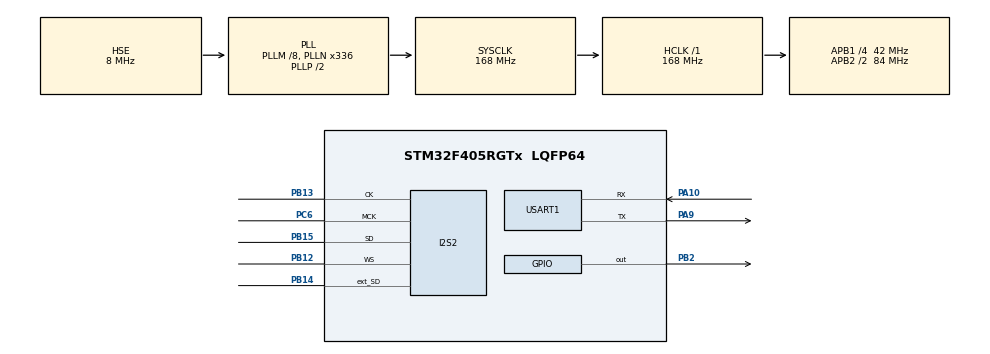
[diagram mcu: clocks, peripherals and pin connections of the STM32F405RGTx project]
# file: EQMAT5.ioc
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Dma.I2S2_EXT_RX.0.Direction=DMA_PERIPH_TO_MEMORY
Dma.I2S2_EXT_RX.0.FIFOMode=DMA_FIFOMODE_DISABLE
Dma.I2S2_EXT_RX.0.Instance=DMA1_Stream3
Dma.I2S2_EXT_RX.0.MemDataAlignment=DMA_MDATAALIGN_HALFWORD
Dma.I2S2_EXT_RX.0.MemInc=DMA_MINC_ENABLE
Dma.I2S2_EXT_RX.0.Mode=DMA_CIRCULAR
Dma.I2S2_EXT_RX.0.PeriphDataAlignment=DMA_PDATAALIGN_HALFWORD
Dma.I2S2_EXT_RX.0.PeriphInc=DMA_PINC_DISABLE
Dma.I2S2_EXT_RX.0.Priority=DMA_PRIORITY_HIGH
Dma.Request0=I2S2_EXT_RX
Dma.Request1=SPI2_TX
Dma.SPI2_TX.1.Direction=DMA_MEMORY_TO_PERIPH
Dma.SPI2_TX.1.FIFOMode=DMA_FIFOMODE_DISABLE
Dma.SPI2_TX.1.Instance=DMA1_Stream4
Dma.SPI2_TX.1.MemDataAlignment=DMA_MDATAALIGN_HALFWORD
Dma.SPI2_TX.1.MemInc=DMA_MINC_ENABLE
Dma.SPI2_TX.1.Mode=DMA_CIRCULAR
Dma.SPI2_TX.1.PeriphDataAlignment=DMA_PDATAALIGN_HALFWORD
Dma.SPI2_TX.1.PeriphInc=DMA_PINC_DISABLE
Dma.SPI2_TX.1.Priority=DMA_PRIORITY_HIGH
I2S2.AudioFreq=I2S_AUDIOFREQ_96K
I2S2.DataFormat=I2S_DATAFORMAT_24B
I2S2.ErrorAudioFreq=-2.34 %
I2S2.FullDuplexMode=I2S_FULLDUPLEXMODE_ENABLE
I2S2.Instance=SPI$Index
I2S2.RealAudioFreq=93.75 KHz
I2S2.VirtualMode=I2S_MODE_MASTER
Mcu.Family=STM32F4
Mcu.Name=STM32F405RGTx
Mcu.Package=LQFP64
NVIC.DMA1_Stream3_IRQn=true\:0\:0\:false\:false\:true\:false\:true\:true
NVIC.DMA1_Stream4_IRQn=true\:0\:0\:false\:false\:true\:false\:true\:true
NVIC.PriorityGroup=NVIC_PRIORITYGROUP_4
NVIC.USART1_IRQn=true\:0\:0\:false\:false\:true\:true\:true\:true
PA10.Mode=Asynchronous
PA10.Signal=USART1_RX
PA13.Mode=Serial_Wire
PA13.Signal=SYS_JTMS-SWDIO
PA14.Mode=Serial_Wire
PA14.Signal=SYS_JTCK-SWCLK
PA9.Mode=Asynchronous
PA9.Signal=USART1_TX
PB12.Mode=Full_Duplex_Master
PB12.Signal=I2S2_WS
PB13.Mode=Full_Duplex_Master
PB13.Signal=I2S2_CK
PB14.Mode=Full_Duplex_Master
PB14.Signal=I2S2_ext_SD
PB15.Mode=Full_Duplex_Master
PB15.Signal=I2S2_SD
PB2.Signal=GPIO_Output
PC6.Mode=Master_Clock_Activated
PC6.Signal=I2S2_MCK
PH0-OSC_IN.Mode=HSE-External-Oscillator
PH0-OSC_IN.Signal=RCC_OSC_IN
PH1-OSC_OUT.Mode=HSE-External-Oscillator
PH1-OSC_OUT.Signal=RCC_OSC_OUT
ProjectManager.HeapSize=0x200
ProjectManager.StackSize=0x400
ProjectManager.TargetToolchain=STM32CubeIDE
RCC.48MHZClocksFreq_Value=84000000
RCC.AHBFreq_Value=168000000
RCC.APB1CLKDivider=RCC_HCLK_DIV4
RCC.APB1Freq_Value=42000000
RCC.APB1TimFreq_Value=84000000
RCC.APB2CLKDivider=RCC_HCLK_DIV2
RCC.APB2Freq_Value=84000000
RCC.APB2TimFreq_Value=168000000
RCC.CortexFreq_Value=168000000
RCC.HCLKFreq_Value=168000000
RCC.HSE_VALUE=8000000
RCC.HSI_VALUE=16000000
RCC.LSE_VALUE=32768
RCC.PLLM=8
RCC.PLLN=336
RCC.PLLSourceVirtual=RCC_PLLSOURCE_HSE
RCC.SYSCLKFreq_VALUE=168000000
RCC.SYSCLKSource=RCC_SYSCLKSOURCE_PLLCLK
RCC.VCOOutputFreq_Value=336000000
USART1.VirtualMode=VM_ASYNC
board=custom

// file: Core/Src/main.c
/* USER CODE BEGIN Header */
/**
  ******************************************************************************
  * @file           : main.c
  * @brief          : Main program body
  ******************************************************************************
  * @attention
  *
  * Copyright (c) 2024 STMicroelectronics.
  * All rights reserved.
  *
  * This software is licensed under terms that can be found in the LICENSE file
  * in the root directory of this software component.
  * If no LICENSE file comes with this software, it is provided AS-IS.
  *
  ******************************************************************************
  */
/* USER CODE END Header */
#include "main.h"

/* USER CODE BEGIN Includes */

#include <stdio.h>
#include <string.h>
#include <stdbool.h>
#include "arm_math.h"

/* USER CODE END Includes */

/* USER CODE BEGIN PD */

#define BLOCK_SIZE_FLOAT 512
#define BLOCK_SIZE_U16 2048

/* USER CODE END PD */

I2S_HandleTypeDef hi2s2;
DMA_HandleTypeDef hdma_i2s2_ext_rx;
DMA_HandleTypeDef hdma_spi2_tx;

UART_HandleTypeDef huart1;

/* USER CODE BEGIN PV */

arm_biquad_casd_df1_inst_f32 iirsettings_l, iirsettings_r;

/* USER CODE END PV */

void SystemClock_Config(void);
static void MX_GPIO_Init(void);
static void MX_DMA_Init(void);
static void MX_I2S2_Init(void);
static void MX_USART1_UART_Init(void);
/* USER CODE BEGIN PFP */

uint8_t tx_buffer[17] = "Serial Ready!\n\r";
uint8_t rx_buffer[75];
float a0, a1, a2, b1, b2, in_z1, in_z2, out_z1, out_z2;
uint8_t isConfigComplete = true;

//4 delayed samples per biquad
float iir_l_state [4];
float iir_r_state [4];

//IIR coefficient array
float iir_coeffs_low [5] = {
				1.000000f,
				-1.996722f,
				0.996733f,
				1.996722f,
				-0.996733
};

float iir_coeffs_lowmid [5] = {
        1.000000f,
        -1.986825f,
        0.986996f,
        1.98683f,
        -0.986996
};

float iir_coeffs_mid [5] = {
        1.000000f,
        -1.897381f,
        0.906562f,
        1.897381f,
        -0.906562
};

float iir_coeffs_highmid [5] = {
        0.999999f,
        -1.787234f,
        0.822248f,
        1.787234f,
        -0.822248
};

float iir_coeffs_high [5] = {
        0.999999f,
        -1.216444f,
        0.533295f,
        1.216444f,
        -0.533295
};

uint16_t rxBuf[BLOCK_SIZE_U16*2];
uint16_t txBuf[BLOCK_SIZE_U16*2];
float l_buf_in [BLOCK_SIZE_FLOAT*2];
float r_buf_in [BLOCK_SIZE_FLOAT*2];
float l_buf_out [BLOCK_SIZE_FLOAT*2];
float r_buf_out [BLOCK_SIZE_FLOAT*2];

uint8_t callback_state = 0;

typedef struct {
  float a0;
  float a1;
  float a2;
  float b0;
  float b1;
  float b2;
} FilterCoeffs;

FilterCoeffs lowBandCoeffs;
FilterCoeffs midLowCoeffs;
FilterCoeffs midBandCoeffs;
FilterCoeffs midHighCoeffs;
FilterCoeffs highBandCoeffs;

void parseAndStoreCoeffs(char *rx_buffer);
void applyNewCoeffs(char *band);

// void addFsuffix(void);

/* USER CODE END PFP */

int main(void)
{

  /* MCU Configuration--------------------------------------------------------*/

  /* Reset of all peripherals, Initializes the Flash interface and the Systick. */
  HAL_Init();

  /* Configure the system clock */
  SystemClock_Config();

  /* Initialize all configured peripherals */
  MX_GPIO_Init();
  MX_DMA_Init();
  MX_I2S2_Init();
  MX_USART1_UART_Init();
  /* USER CODE BEGIN 2 */

  // Start UART communication
  HAL_UART_Transmit(&huart1, tx_buffer, sizeof(tx_buffer), 10); // Send ready message
  HAL_UART_Receive_IT(&huart1, rx_buffer, sizeof(rx_buffer)); // Start UART receive

  // Set default filter coefficients
  // parseAndStoreCoeffs("Reset");

  // Start I2S communication

  //init IIR structure
  arm_biquad_cascade_df1_init_f32 ( &iirsettings_l, 1, &iir_coeffs_low[0], &iir_l_state[0]);
  arm_biquad_cascade_df1_init_f32 ( &iirsettings_r, 1, &iir_coeffs_low[0], &iir_r_state[0]);
  arm_biquad_cascade_df1_init_f32 ( &iirsettings_l, 1, &iir_coeffs_lowmid[0], &iir_l_state[0]);
  arm_biquad_cascade_df1_init_f32 ( &iirsettings_r, 1, &iir_coeffs_lowmid[0], &iir_r_state[0]);
  arm_biquad_cascade_df1_init_f32 ( &iirsettings_l, 1, &iir_coeffs_mid[0], &iir_l_state[0]);
  arm_biquad_cascade_df1_init_f32 ( &iirsettings_r, 1, &iir_coeffs_mid[0], &iir_r_state[0]);
  arm_biquad_cascade_df1_init_f32 ( &iirsettings_l, 1, &iir_coeffs_highmid[0], &iir_l_state[0]);
  arm_biquad_cascade_df1_init_f32 ( &iirsettings_r, 1, &iir_coeffs_highmid[0], &iir_r_state[0]);
  arm_biquad_cascade_df1_init_f32 ( &iirsettings_l, 1, &iir_coeffs_high[0], &iir_l_state[0]);
  arm_biquad_cascade_df1_init_f32 ( &iirsettings_r, 1, &iir_coeffs_high[0], &iir_r_state[0]);

  //start i2s with 2048 samples transmission => 4096*u16 words
  HAL_I2SEx_TransmitReceive_DMA (&hi2s2, txBuf, rxBuf, BLOCK_SIZE_U16);

  int offset_r_ptr;
  int offset_w_ptr, w_ptr;

  /* USER CODE END 2 */

  /* Infinite loop */
  while (1)
  {

    /* USER CODE BEGIN 3 */

    // Blink the LED while working
    // HAL_GPIO_TogglePin(GPIOB, GPIO_PIN_2);
    // HAL_Delay(1000);

    if (callback_state != 0) {

		  //decide if it was half or cplt callback
		  if (callback_state == 1)   {
			  	  offset_r_ptr = 0;
			  	  offset_w_ptr = 0;
			  	  w_ptr = 0;
			  }

		  else if (callback_state == 2) {
			  offset_r_ptr = BLOCK_SIZE_U16;
			  offset_w_ptr = BLOCK_SIZE_FLOAT;
			  w_ptr = BLOCK_SIZE_FLOAT;
		  }

		  //restore input sample buffer to float array
		  for (int i=offset_r_ptr; i<offset_r_ptr+BLOCK_SIZE_U16; i=i+4) {
			  l_buf_in[w_ptr] = (float) ((int) (rxBuf[i]<<16)|rxBuf[i+1]);
			  r_buf_in[w_ptr] = (float) ((int) (rxBuf[i+2]<<16)|rxBuf[i+3]);
			  w_ptr++;
		  }

		  //process IIR
		  arm_biquad_cascade_df1_f32 (&iirsettings_l, &l_buf_in[offset_w_ptr], &l_buf_out[offset_w_ptr],BLOCK_SIZE_FLOAT);
		  arm_biquad_cascade_df1_f32 (&iirsettings_r, &r_buf_in[offset_w_ptr], &r_buf_out[offset_w_ptr],BLOCK_SIZE_FLOAT);

      //bypass
      // for (int i=offset_w_ptr; i<offset_w_ptr+BLOCK_SIZE_FLOAT; i++) {
      //   l_buf_out[i] = l_buf_in[i];
      //   r_buf_out[i] = r_buf_in[i];
      // }

		  //restore processed float-array to output sample-buffer
		  w_ptr = offset_w_ptr;

		  for (int i=offset_r_ptr; i<offset_r_ptr+BLOCK_SIZE_U16; i=i+4) {
				txBuf[i] =  (((int)l_buf_out[w_ptr])>>16)&0xFFFF;
				txBuf[i+1] = ((int)l_buf_out[w_ptr])&0xFFFF;
				txBuf[i+2] = (((int)r_buf_out[w_ptr])>>16)&0xFFFF;
				txBuf[i+3] = ((int)r_buf_out[w_ptr])&0xFFFF;
				w_ptr++;
		  }

		  callback_state = 0;

	  }
  }
  /* USER CODE END 3 */
}

void SystemClock_Config(void)
{
  RCC_OscInitTypeDef RCC_OscInitStruct = {0};
  RCC_ClkInitTypeDef RCC_ClkInitStruct = {0};

  /** Configure the main internal regulator output voltage
  */
  __HAL_RCC_PWR_CLK_ENABLE();
  __HAL_PWR_VOLTAGESCALING_CONFIG(PWR_REGULATOR_VOLTAGE_SCALE1);

  /** Initializes the RCC Oscillators according to the specified parameters
  * in the RCC_OscInitTypeDef structure.
  */
  RCC_OscInitStruct.OscillatorType = RCC_OSCILLATORTYPE_HSE;
  RCC_OscInitStruct.HSEState = RCC_HSE_ON;
  RCC_OscInitStruct.PLL.PLLState = RCC_PLL_ON;
  RCC_OscInitStruct.PLL.PLLSource = RCC_PLLSOURCE_HSE;
  RCC_OscInitStruct.PLL.PLLM = 8;
  RCC_OscInitStruct.PLL.PLLN = 336;
  RCC_OscInitStruct.PLL.PLLP = RCC_PLLP_DIV2;
  RCC_OscInitStruct.PLL.PLLQ = 4;
  if (HAL_RCC_OscConfig(&RCC_OscInitStruct) != HAL_OK)
  {
    Error_Handler();
  }

  /** Initializes the CPU, AHB and APB buses clocks
  */
  RCC_ClkInitStruct.ClockType = RCC_CLOCKTYPE_HCLK|RCC_CLOCKTYPE_SYSCLK
                              |RCC_CLOCKTYPE_PCLK1|RCC_CLOCKTYPE_PCLK2;
  RCC_ClkInitStruct.SYSCLKSource = RCC_SYSCLKSOURCE_PLLCLK;
  RCC_ClkInitStruct.AHBCLKDivider = RCC_SYSCLK_DIV1;
  RCC_ClkInitStruct.APB1CLKDivider = RCC_HCLK_DIV4;
  RCC_ClkInitStruct.APB2CLKDivider = RCC_HCLK_DIV2;

  if (HAL_RCC_ClockConfig(&RCC_ClkInitStruct, FLASH_LATENCY_5) != HAL_OK)
  {
    Error_Handler();
  }
}

static void MX_I2S2_Init(void)
{

  hi2s2.Instance = SPI2;
  hi2s2.Init.Mode = I2S_MODE_MASTER_TX;
  hi2s2.Init.Standard = I2S_STANDARD_PHILIPS;
  hi2s2.Init.DataFormat = I2S_DATAFORMAT_24B;
  hi2s2.Init.MCLKOutput = I2S_MCLKOUTPUT_ENABLE;
  hi2s2.Init.AudioFreq = I2S_AUDIOFREQ_96K;
  hi2s2.Init.CPOL = I2S_CPOL_LOW;
  hi2s2.Init.ClockSource = I2S_CLOCK_PLL;
  hi2s2.Init.FullDuplexMode = I2S_FULLDUPLEXMODE_ENABLE;
  if (HAL_I2S_Init(&hi2s2) != HAL_OK)
  {
    Error_Handler();
  }

}

static void MX_USART1_UART_Init(void)
{

  huart1.Instance = USART1;
  huart1.Init.BaudRate = 115200;
  huart1.Init.WordLength = UART_WORDLENGTH_8B;
  huart1.Init.StopBits = UART_STOPBITS_1;
  huart1.Init.Parity = UART_PARITY_NONE;
  huart1.Init.Mode = UART_MODE_TX_RX;
  huart1.Init.HwFlowCtl = UART_HWCONTROL_NONE;
  huart1.Init.OverSampling = UART_OVERSAMPLING_16;
  if (HAL_UART_Init(&huart1) != HAL_OK)
  {
    Error_Handler();
  }

}

static void MX_DMA_Init(void)
{

  /* DMA controller clock enable */
  __HAL_RCC_DMA1_CLK_ENABLE();

  /* DMA interrupt init */
  /* DMA1_Stream3_IRQn interrupt configuration */
  HAL_NVIC_SetPriority(DMA1_Stream3_IRQn, 0, 0);
  HAL_NVIC_EnableIRQ(DMA1_Stream3_IRQn);
  /* DMA1_Stream4_IRQn interrupt configuration */
  HAL_NVIC_SetPriority(DMA1_Stream4_IRQn, 0, 0);
  HAL_NVIC_EnableIRQ(DMA1_Stream4_IRQn);

}

static void MX_GPIO_Init(void)
{
  GPIO_InitTypeDef GPIO_InitStruct = {0};

  /* GPIO Ports Clock Enable */
  __HAL_RCC_GPIOH_CLK_ENABLE();
  __HAL_RCC_GPIOB_CLK_ENABLE();
  __HAL_RCC_GPIOC_CLK_ENABLE();
  __HAL_RCC_GPIOA_CLK_ENABLE();

  /*Configure GPIO pin Output Level */
  HAL_GPIO_WritePin(GPIOB, GPIO_PIN_2, GPIO_PIN_RESET);

  /*Configure GPIO pin : PB2 */
  GPIO_InitStruct.Pin = GPIO_PIN_2;
  GPIO_InitStruct.Mode = GPIO_MODE_OUTPUT_PP;
  GPIO_InitStruct.Pull = GPIO_NOPULL;
  GPIO_InitStruct.Speed = GPIO_SPEED_FREQ_LOW;
  HAL_GPIO_Init(GPIOB, &GPIO_InitStruct);

}

/* USER CODE BEGIN 4 */

int _write(int file, char *ptr, int len)
{
  (void)file;
  int DataIdx;

  for (DataIdx = 0; DataIdx < len; DataIdx++)
  {
	  ITM_SendChar(*ptr++);
  }
  return len;
}

void HAL_UART_RxCpltCallback(UART_HandleTypeDef *huart)
{
  /* Prevent unused argument(s) compilation warning */
  UNUSED(huart);
  /* NOTE: This function should not be modified, when the callback is needed,
           the HAL_UART_RxCpltCallback could be implemented in the user file
   */
  // HAL_UART_Transmit(&huart1, rx_buffer, sizeof(rx_buffer), 10); // Echo the received data
  printf("Received UART: %s\n", rx_buffer); // Print the received data to serial

  isConfigComplete = false;
  parseAndStoreCoeffs((char *)rx_buffer); // Parse the received data
  isConfigComplete = true;
  memset(rx_buffer, 0, sizeof(rx_buffer)); // Clear the buffer
  HAL_UART_Receive_IT(&huart1, rx_buffer, sizeof(rx_buffer)); // Start the next receive
}

void parseAndStoreCoeffs(char *rx_buffer) {
    // Determine which band the coefficients are for
    if (strncmp(rx_buffer, "LowMid", 6) == 0) {
        sscanf(rx_buffer, "LowMid %f %f %f %f %f %f",
               &midLowCoeffs.a0, &midLowCoeffs.a1, &midLowCoeffs.a2,
               &midLowCoeffs.b0, &midLowCoeffs.b1, &midLowCoeffs.b2);
        printf("Parsed LowMid: %f %f %f %f %f %f\n",
                midLowCoeffs.a0, midLowCoeffs.a1, midLowCoeffs.a2,
                midLowCoeffs.b0, midLowCoeffs.b1, midLowCoeffs.b2);
        applyNewCoeffs("LowMid");
    } else if (strncmp(rx_buffer, "HighMid", 7) == 0) {
        sscanf(rx_buffer, "HighMid %f %f %f %f %f %f",
               &midHighCoeffs.a0, &midHighCoeffs.a1, &midHighCoeffs.a2,
               &midHighCoeffs.b0, &midHighCoeffs.b1, &midHighCoeffs.b2);
        printf("Parsed HighMid: %f %f %f %f %f %f\n",
                midHighCoeffs.a0, midHighCoeffs.a1, midHighCoeffs.a2,
                midHighCoeffs.b0, midHighCoeffs.b1, midHighCoeffs.b2);
        applyNewCoeffs("HighMid");
    } else if (strncmp(rx_buffer, "High", 4) == 0) {
        sscanf(rx_buffer, "High %f %f %f %f %f %f",
               &highBandCoeffs.a0, &highBandCoeffs.a1, &highBandCoeffs.a2,
               &highBandCoeffs.b0, &highBandCoeffs.b1, &highBandCoeffs.b2);
        printf("Parsed High: %f %f %f %f %f %f\n",
                highBandCoeffs.a0, highBandCoeffs.a1, highBandCoeffs.a2,
                highBandCoeffs.b0, highBandCoeffs.b1, highBandCoeffs.b2);
        applyNewCoeffs("High");
    } else if (strncmp(rx_buffer, "Mid", 3) == 0) {
        sscanf(rx_buffer, "Mid %f %f %f %f %f %f",
               &midBandCoeffs.a0, &midBandCoeffs.a1, &midBandCoeffs.a2,
               &midBandCoeffs.b0, &midBandCoeffs.b1, &midBandCoeffs.b2);
        printf("Parsed Mid: %f %f %f %f %f %f\n",
                midBandCoeffs.a0, midBandCoeffs.a1, midBandCoeffs.a2,
                midBandCoeffs.b0, midBandCoeffs.b1, midBandCoeffs.b2);
        applyNewCoeffs("Mid");
    } else if (strncmp(rx_buffer, "Low", 3) == 0) {
        sscanf(rx_buffer, "Low %f %f %f %f %f %f",
               &lowBandCoeffs.a0, &lowBandCoeffs.a1, &lowBandCoeffs.a2,
               &lowBandCoeffs.b0, &lowBandCoeffs.b1, &lowBandCoeffs.b2);
        printf("Parsed Low: %f %f %f %f %f %f\n",
               lowBandCoeffs.a0, lowBandCoeffs.a1, lowBandCoeffs.a2,
               lowBandCoeffs.b0, lowBandCoeffs.b1, lowBandCoeffs.b2);
        applyNewCoeffs("Low");
    } else if (strncmp(rx_buffer, "Reset", 5) == 0) {
        lowBandCoeffs.a0 = 1.000000f;
        lowBandCoeffs.a1 = -1.9967221676279703f;
        lowBandCoeffs.a2 = 0.9967328593303515f;
        lowBandCoeffs.b0 = 1.0f;
        lowBandCoeffs.b1 = -1.9967221676279703f;
        lowBandCoeffs.b2 = 0.9967328593303515f;
        midLowCoeffs.a0 = 1.000000f;
        midLowCoeffs.a1 = -1.9868252854194832f;
        midLowCoeffs.a2 = 0.9869955161457885f;
        midLowCoeffs.b0 = 1.0f;
        midLowCoeffs.b1 = -1.9868252854194832f;
        midLowCoeffs.b2 = 0.9869955161457885f;
        midBandCoeffs.a0 = 1.000000f;
        midBandCoeffs.a1 = -1.8973814990203015f;
        midBandCoeffs.a2 = 0.9065621167287853f;
        midBandCoeffs.b0 = 1.0f;
        midBandCoeffs.b1 = -1.8973814990203015f;
        midBandCoeffs.b2 = 0.9065621167287853f;
        midHighCoeffs.a0 = 0.9999999999999999f;
        midHighCoeffs.a1 = -1.7872344851894877f;
        midHighCoeffs.a2 = 0.8222484787441973f;
        midHighCoeffs.b0 = 1.0f;
        midHighCoeffs.b1 = -1.7872344851894877f;
        midHighCoeffs.b2 = 0.8222484787441973f;
        highBandCoeffs.a0 = 0.9999999999999999f;
        highBandCoeffs.a1 = -1.2164444497980702f;
        highBandCoeffs.a2 = 0.5332946721463616f;
        highBandCoeffs.b0 = 1.0f;
        highBandCoeffs.b1 = -1.2164444497980702f;
        highBandCoeffs.b2 = 0.5332946721463616f;
        applyNewCoeffs("LowMid");
        applyNewCoeffs("HighMid");
        applyNewCoeffs("High");
        applyNewCoeffs("Mid");
        applyNewCoeffs("Low");
        printf("Coefficients reset!\n");
    } else {
        printf("Invalid parameter\n");
    }
}

void applyNewCoeffs(char *band) {
    // Apply the new coefficients to the IIR filter
    if (strncmp(band, "LowMid", 6) == 0) {
        iir_coeffs_lowmid[0] = midLowCoeffs.a0;
        iir_coeffs_lowmid[1] = midLowCoeffs.a1;
        iir_coeffs_lowmid[2] = midLowCoeffs.a2;
        iir_coeffs_lowmid[3] = -midLowCoeffs.b1;
        iir_coeffs_lowmid[4] = -midLowCoeffs.b2;
        arm_biquad_cascade_df1_init_f32(&iirsettings_l, 1, &iir_coeffs_lowmid[0], &iir_l_state[0]);
        arm_biquad_cascade_df1_init_f32(&iirsettings_r, 1, &iir_coeffs_lowmid[0], &iir_r_state[0]);
    } else if (strncmp(band, "HighMid", 7) == 0) {
        iir_coeffs_highmid[0] = midHighCoeffs.a0;
        iir_coeffs_highmid[1] = midHighCoeffs.a1;
        iir_coeffs_highmid[2] = midHighCoeffs.a2;
        iir_coeffs_highmid[3] = -midHighCoeffs.b1;
        iir_coeffs_highmid[4] = -midHighCoeffs.b2;
        arm_biquad_cascade_df1_init_f32(&iirsettings_l, 1, &iir_coeffs_highmid[0], &iir_l_state[0]);
        arm_biquad_cascade_df1_init_f32(&iirsettings_r, 1, &iir_coeffs_highmid[0], &iir_r_state[0]);
    } else if (strncmp(band, "High", 4) == 0) {
        iir_coeffs_high[0] = highBandCoeffs.a0;
        iir_coeffs_high[1] = highBandCoeffs.a1;
        iir_coeffs_high[2] = highBandCoeffs.a2;
        iir_coeffs_high[3] = -highBandCoeffs.b1;
        iir_coeffs_high[4] = -highBandCoeffs.b2;
        arm_biquad_cascade_df1_init_f32(&iirsettings_l, 1, &iir_coeffs_high[0], &iir_l_state[0]);
        arm_biquad_cascade_df1_init_f32(&iirsettings_r, 1, &iir_coeffs_high[0], &iir_r_state[0]);
    } else if (strncmp(band, "Mid", 3) == 0) {
        iir_coeffs_mid[0] = midBandCoeffs.a0;
        iir_coeffs_mid[1] = midBandCoeffs.a1;
        iir_coeffs_mid[2] = midBandCoeffs.a2;
        iir_coeffs_mid[3] = -midBandCoeffs.b1;
        iir_coeffs_mid[4] = -midBandCoeffs.b2;
        arm_biquad_cascade_df1_init_f32(&iirsettings_l, 1, &iir_coeffs_mid[0], &iir_l_state[0]);
        arm_biquad_cascade_df1_init_f32(&iirsettings_r, 1, &iir_coeffs_mid[0], &iir_r_state[0]);
    } else if (strncmp(band, "Low", 3) == 0) {
        iir_coeffs_low[0] = lowBandCoeffs.a0;
        iir_coeffs_low[1] = lowBandCoeffs.a1;
        iir_coeffs_low[2] = lowBandCoeffs.a2;
        iir_coeffs_low[3] = -lowBandCoeffs.b1;
        iir_coeffs_low[4] = -lowBandCoeffs.b2;
        arm_biquad_cascade_df1_init_f32(&iirsettings_l, 1, &iir_coeffs_low[0], &iir_l_state[0]);
        arm_biquad_cascade_df1_init_f32(&iirsettings_r, 1, &iir_coeffs_low[0], &iir_r_state[0]);
    } else {
        printf("Invalid band\n");
    }
}

void HAL_I2SEx_TxRxHalfCpltCallback(I2S_HandleTypeDef *hi2s){
  callback_state = 1;
}

void HAL_I2SEx_TxRxCpltCallback(I2S_HandleTypeDef *hi2s){
  callback_state = 2;
}

/* USER CODE END 4 */

void Error_Handler(void)
{
  __disable_irq();
  while (1)
  {
  }
}
